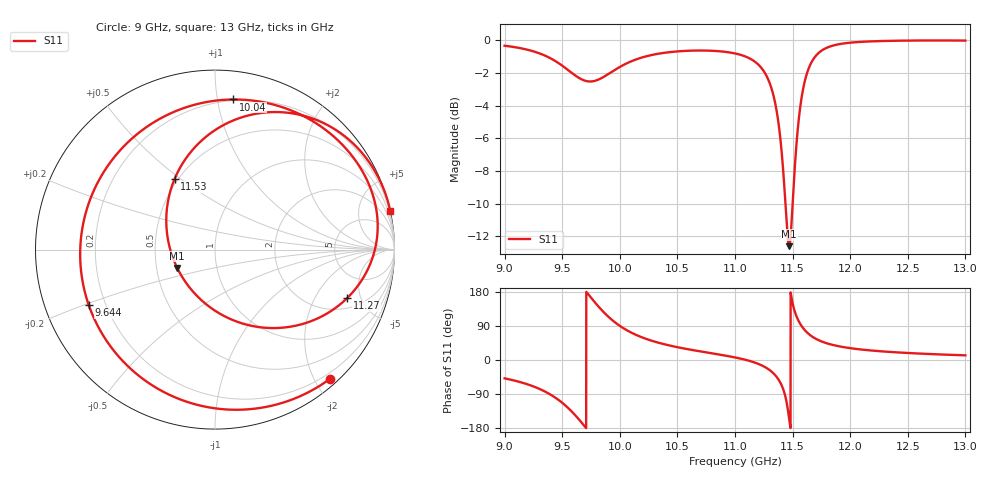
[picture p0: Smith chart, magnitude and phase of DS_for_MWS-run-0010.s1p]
! TOUCHSTONE file generated by CST DESIGN STUDIO
! Date and time: Tue Feb  4 18:21:20 2025
! Project name: C:\Work\MatlabApps\UnitCellOptimizationMatlab\CST\unitcell.cst
! Tree item: Tasks\Sweep1\SPara1\S-Parameters
! Header version: 2024
! Port assignment regex: !\s*Touchstone port\s*([0-9]+)\s*=\s*(CST MWS port|CST DES external port|CST DES block port)\s*(.+)\s* \(\"(.*)\"\)(\s*mode\s*([0-9]+))?.*
! Touchstone port assignment:
! Touchstone port 1 = CST DES external port 1 ("")
# GHz S MA R 50
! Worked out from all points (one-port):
!   4001 points, 9 GHz to 13 GHz, reference 50 ohm
!   lowest |S11| = -12.6 dB at 11.47 GHz (marker M1), VSWR 1.61, Z = 32 - j6.88 ohm
!   |S11| at or under -10 dB: 11.44 GHz to 11.5 GHz (62.82 MHz wide, 0.548 % of centre)
!   S11 on the Smith chart (normalised r, x): 9 GHz: 0.11, -2.22; 9.644 GHz: 0.14, -0.21; 10.04 GHz: 0.19, +1.11; 11.27 GHz: 2.70, -3.79; 11.53 GHz: 0.48, +0.47; 13 GHz: 0.04, +9.28
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9  0.9635 -48.4
9.265  0.9226 -71.5
9.398  0.8819 -91.2
9.5  0.8371 -112.8
9.571  0.8013 -132.3
9.644  0.7682 -156.4
9.737  0.7485 169.3
9.84  0.7663 132.6
9.916  0.7954 110.0
10  0.8294 90.1
10.035  0.8422 83.2
10.239  0.8959 54.6
10.5  0.9257 33.8
11  0.9124 6.8
11.162  0.8662 -5.8
11.269  0.7842 -20.2
11.335  0.6757 -35.6
11.394  0.4992 -60.0
11.432  0.3398 -90.2
11.47  0.234 -154.3
11.5  0.3143 149.8
11.528  0.4532 119.8
11.58  0.6746 88.8
11.641  0.8233 68.4
11.78  0.9436 45.8
12  0.9845 31.2
12.5  0.9991 18.5
13  0.9991 12.3
